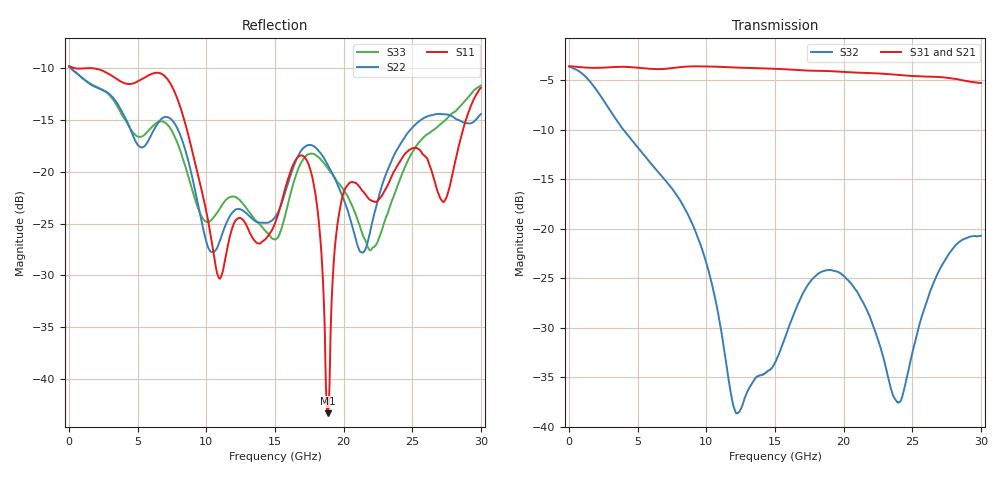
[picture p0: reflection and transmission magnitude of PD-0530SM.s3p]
! MARKI MICROWAVE INC.
! Email:  info@markimicrowave.com  Phone:  408-778-4200
! Model Number:  PD_0530SM  Date:  07/14
! Filename:		PD_0530SM.S3P  Version: 1.0
! Description:  3-port S-parameter data for Power Divider PD_0530SM
! Frequency Range: 	10 MHz to 30 GHz
! Port Configuration:	PORT 1: Common, PORT 2 and Port 3: Output
! S3P File: Measurements: Mag<S11> Ang<S11> Mag<S12> Ang<S12> Mag<S13> Ang<S13> ! row 1
!  Mag<S21> Ang<S21> Mag<S22> Ang<S22> Mag<S23> Ang<S23> ! row 2
!  Mag<S31> Ang<S31> Mag<S32> Ang<S32> Mag<S33> Ang<S33> ! row 3
# Hz S  dB  R 50
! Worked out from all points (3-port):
!   801 points, 10 MHz to 30 GHz, reference 50 ohm
!   strongest paths, dB at 10 MHz, 7.508 GHz, 15.01 GHz, 22.5 GHz, 30 GHz:
!     S31: -3.6, -3.8, -3.8, -4.3, -5.3
!     S21: -3.6, -3.8, -3.9, -4.3, -5.2
!     S32: -3.6, -15.9, -33.5, -31.2, -20.7
!   lowest |S11| = -43.3 dB at 18.83 GHz (marker M1), VSWR 1.01, Z = 49.6 + j0.551 ohm
!   |S11| at or under -10 dB: 536.9 MHz to 1.031 GHz (493.9 MHz wide, 63 % of centre); 1.855 GHz to end of sweep
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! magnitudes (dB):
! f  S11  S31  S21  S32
! 10 MHz  -9.8  -3.6  -3.6  -3.6
! 8.707 GHz  -16.5  -3.6  -3.7  -18.7
! 10.88 GHz  -30.1  -3.6  -3.7  -28.7
! 12.16 GHz  -24.7  -3.7  -3.7  -38.6
! 15.01 GHz  -25.0  -3.8  -3.9  -33.5
! 17.55 GHz  -19.7  -4.0  -4.1  -25.4
! 18.83 GHz  -43.3  -4.1  -4.1  -24.2
! 20.14 GHz  -21.6  -4.2  -4.2  -24.9
! 24 GHz  -19.2  -4.5  -4.5  -37.5
! 30 GHz  -11.9  -5.3  -5.2  -20.7
